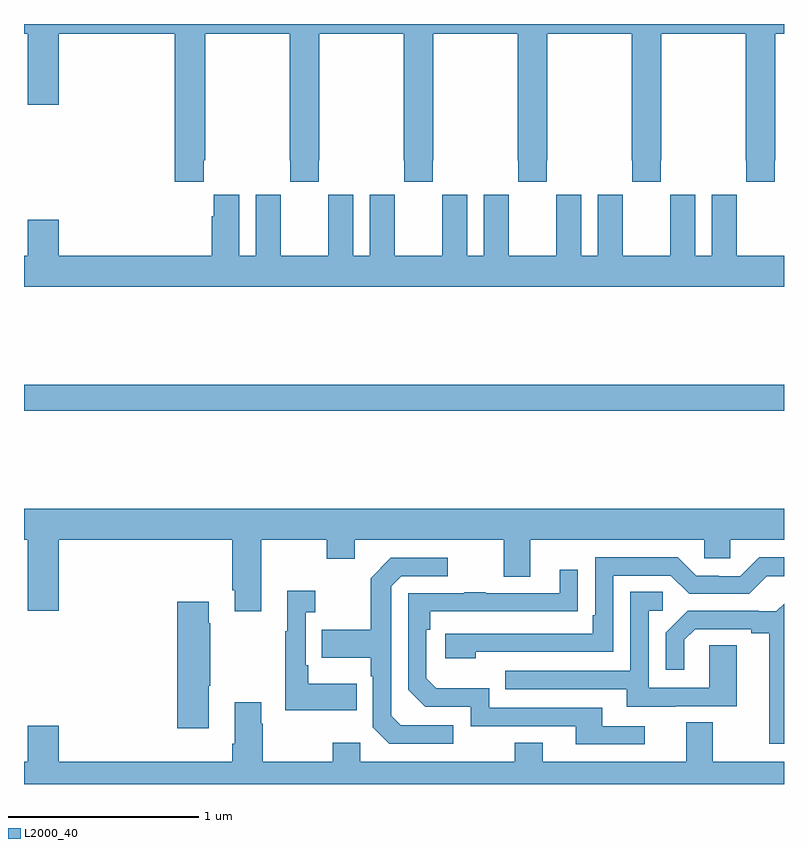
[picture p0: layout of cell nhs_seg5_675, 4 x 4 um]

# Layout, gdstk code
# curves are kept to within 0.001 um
import gdstk
lib = gdstk.Library(unit=1e-6, precision=1e-09)
def R(c, l, rs):  # rectangles x0, y0, x1, y1
    for r in rs: c.add(gdstk.rectangle(r[:2], r[2:], *l))
def P(c, l, *ps):  # polygons
    for p in ps: c.add(gdstk.Polygon(p, *l))
L2000_40 = (2000, 40)

nhs_seg5_675 = lib.new_cell('nhs_seg5_675')
R(nhs_seg5_675, L2000_40, [(153,866.764,157,866.9)])
P(nhs_seg5_675, L2000_40, [(156.799,868.081),(156.801,868.081),(156.801,867.969),(156.951,867.969),(156.951,868.081),(156.954,868.081),(156.954,868.748),(157,868.748),(157,868.799),(153,868.799),(153,868.748),(153.02,868.748),(153.02,868.374),(153.184,868.374),(153.184,868.748),(153.794,868.748),(153.794,867.969),(153.947,867.969),(153.947,868.081),(153.954,868.081),(153.954,868.748),(154.399,868.748),(154.399,868.081),(154.401,868.081),(154.401,867.969),(154.551,867.969),(154.551,868.081),(154.554,868.081),(154.554,868.748),(154.999,868.748),(154.999,868.081),(155.001,868.081),(155.001,867.969),(155.151,867.969),(155.151,868.081),(155.154,868.081),(155.154,868.748),(155.599,868.748),(155.599,868.081),(155.601,868.081),(155.601,867.969),(155.751,867.969),(155.751,868.081),(155.754,868.081),(155.754,868.748),(156.199,868.748),(156.199,868.081),(156.201,868.081),(156.201,867.969),(156.351,867.969),(156.351,868.081),(156.354,868.081),(156.354,868.748),(156.799,868.748)],
  [(157,867.58),(156.751,867.58),(156.751,867.788),(156.75,867.788),(156.75,867.901),(156.62,867.901),(156.62,867.58),(156.532,867.58),(156.532,867.901),(156.402,867.901),(156.402,867.788),(156.401,867.788),(156.401,867.58),(156.151,867.58),(156.151,867.788),(156.15,867.788),(156.15,867.901),(156.02,867.901),(156.02,867.58),(155.932,867.58),(155.932,867.901),(155.802,867.901),(155.802,867.788),(155.801,867.788),(155.801,867.58),(155.551,867.58),(155.551,867.788),(155.55,867.788),(155.55,867.901),(155.42,867.901),(155.42,867.58),(155.332,867.58),(155.332,867.901),(155.202,867.901),(155.202,867.788),(155.201,867.788),(155.201,867.58),(154.951,867.58),(154.951,867.788),(154.95,867.788),(154.95,867.901),(154.82,867.901),(154.82,867.58),(154.732,867.58),(154.732,867.901),(154.602,867.901),(154.602,867.788),(154.601,867.788),(154.601,867.58),(154.351,867.58),(154.351,867.788),(154.35,867.788),(154.35,867.901),(154.22,867.901),(154.22,867.58),(154.132,867.58),(154.132,867.901),(153.998,867.901),(153.998,867.788),(153.989,867.788),(153.989,867.58),(153.184,867.58),(153.184,867.769),(153.02,867.769),(153.02,867.58),(153,867.58),(153,867.416),(157,867.416)],
  [(154.249,866.084),(154.594,866.084),(154.594,865.985),(154.741,865.985),(154.741,866.084),(155.525,866.084),(155.525,865.89),(155.665,865.89),(155.665,866.084),(156.579,866.084),(156.579,865.986),(156.717,865.986),(156.717,866.084),(157,866.084),(157,866.248),(153,866.248),(153,866.084),(153.02,866.084),(153.02,865.71),(153.184,865.71),(153.184,866.084),(154.097,866.084),(154.097,865.819),(154.109,865.819),(154.109,865.707),(154.249,865.707)],
  [(155.378,865.494),(156.102,865.494),(156.102,865.896),(156.405,865.896),(156.501,865.8),(156.816,865.8),(156.909,865.893),(157,865.893),(157,865.993),(156.871,865.993),(156.771,865.893),(156.656,865.893),(156.656,865.896),(156.537,865.896),(156.441,865.992),(156.006,865.992),(156.006,865.687),(155.993,865.687),(155.993,865.59),(155.217,865.59),(155.217,865.46),(155.378,865.46)],
  [(155.26,865.107),(154.983,865.107),(154.932,865.158),(154.932,865.839),(154.986,865.893),(155.23,865.893),(155.23,865.989),(154.929,865.989),(154.824,865.883),(154.824,865.611),(154.567,865.611),(154.567,865.463),(154.824,865.463),(154.824,865.367),(154.836,865.367),(154.836,865.098),(154.923,865.011),(155.26,865.011)],
  [(156.268,865.104),(156.043,865.104),(156.043,865.2),(155.448,865.2),(155.448,865.303),(155.171,865.303),(155.118,865.356),(155.118,865.61),(155.138,865.61),(155.138,865.707),(155.915,865.708),(155.915,865.927),(155.819,865.927),(155.819,865.803),(155.429,865.803),(155.429,865.808),(155.317,865.808),(155.317,865.803),(155.022,865.803),(155.022,865.296),(155.112,865.206),(155.352,865.206),(155.352,865.104),(155.903,865.104),(155.903,865.008),(156.268,865.008)],
  [(154.751,865.327),(154.495,865.327),(154.495,865.423),(154.482,865.423),(154.482,865.703),(154.534,865.703),(154.534,865.816),(154.385,865.816),(154.385,865.603),(154.374,865.603),(154.374,865.187),(154.751,865.187)],
  [(156.427,865.209),(156.751,865.209),(156.751,865.529),(156.606,865.529),(156.606,865.305),(156.288,865.305),(156.288,865.71),(156.361,865.71),(156.361,865.811),(156.192,865.811),(156.192,865.395),(155.533,865.395),(155.533,865.299),(156.173,865.299),(156.173,865.205),(156.427,865.205)],
  [(153.973,865.315),(153.981,865.315),(153.981,865.646),(153.973,865.646),(153.973,865.759),(153.806,865.759),(153.806,865.092),(153.973,865.092)],
  [(157,865.747),(156.96,865.707),(156.866,865.707),(156.866,865.71),(156.494,865.71),(156.378,865.594),(156.378,865.401),(156.475,865.401),(156.475,865.557),(156.532,865.614),(156.827,865.614),(156.827,865.592),(156.923,865.592),(156.923,865.011),(157,865.011)],
  [(157,864.916),(156.625,864.916),(156.625,865.124),(156.485,865.124),(156.485,864.916),(155.731,864.916),(155.731,865.015),(155.584,865.015),(155.584,864.916),(154.77,864.916),(154.77,865.015),(154.624,865.015),(154.624,864.916),(154.257,864.916),(154.257,865.115),(154.249,865.115),(154.249,865.228),(154.109,865.228),(154.109,865.012),(154.097,865.012),(154.097,864.916),(153.184,864.916),(153.184,865.105),(153.02,865.105),(153.02,864.916),(153,864.916),(153,864.799),(157,864.799)])

lib.write_gds('nhs_seg5_675.gds')
